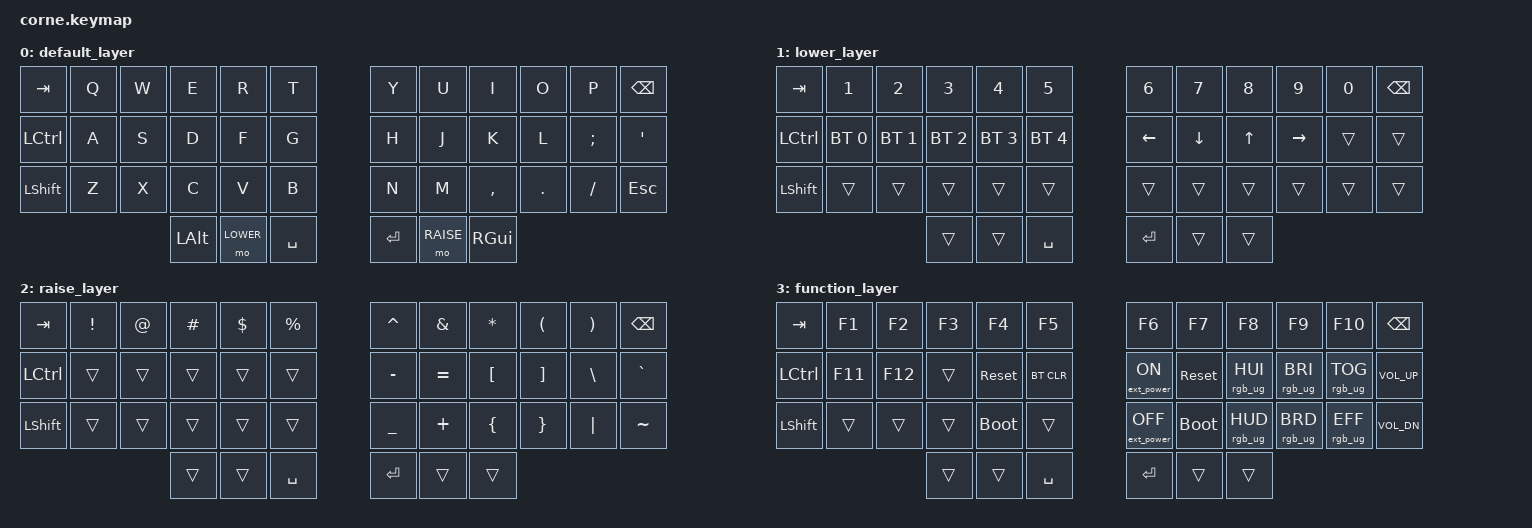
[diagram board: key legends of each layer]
/*
 * Copyright (c) 2020 The ZMK Contributors
 *
 * SPDX-License-Identifier: MIT
 */

#include <behaviors.dtsi>
#include <dt-bindings/zmk/bt.h>
#include <dt-bindings/zmk/ext_power.h>
#include <dt-bindings/zmk/keys.h>
#include <dt-bindings/zmk/rgb.h>

#define DEFAULT 0
#define LOWER   1
#define RAISE   2
#define FUNC    3
#define NAV     4
#define SPECIAL 5

&led_strip {
    chain-length = <27>; // 21 backlight + 6 underglow
};

&mt {
    tapping-term-ms = <200>;
};

/ {
    behaviors {
        // Example 1: Tab key tap dance
        td_tab: tap_dance_tab {
            compatible = "zmk,behavior-tap-dance";
            label = "TAP_DANCE_TAB";
            #binding-cells = <0>;
            tapping-term-ms = <200>;
            bindings = <&kp TAB>, <&kp LS(TAB)>, <&kp RC(TAB)>;
            // Tap once: Normal Tab
            // Tap twice: Shift+Tab (reverse tab)
            // Tap thrice: Ctrl+Tab (cycle tabs)
        };

        // Tap dance behavior for layer activation
        td_layer: tap_dance_lower_raise {
            compatible = "zmk,behavior-tap-dance";
            label = "TD_LOWER_RAISE";
            #binding-cells = <0>;
            tapping-term-ms = <500>;
            bindings = <&mo LOWER>, <&mo RAISE>, <&to NAV>;
        };

        // Conditional layer for ADJUST layer
        conditional_layers {
            compatible = "zmk,conditional-layers";
            adjust_layer {
                if-layers = <LOWER RAISE>;
                then-layer = <FUNC>;
            };
        };
    };

    keymap {
        compatible = "zmk,keymap";
        default_layer {
            bindings = <
            //╭───────────┬───────────┬───────────┬───────────┬───────────┬───────────╮   ╭───────────┬───────────┬───────────┬───────────┬───────────┬───────────╮
            //│ TAB       | Q         │ W         │ E         │ R         │ T         │   │ Y         │ U         │ I         │ O         │ P         │ BSPC      │
                &kp TAB     &kp Q       &kp W       &kp E       &kp R       &kp T           &kp Y       &kp U       &kp I       &kp O       &kp P       &kp BSPC
            //├───────────┼───────────┼───────────┼───────────┼───────────┼───────────┤   ├───────────┼───────────┼───────────┼───────────┼───────────┼───────────┤
            //│ LCTRL     │ A         │ S         │ D         │ F         │ G         │   │ H         │ J         │ K         │ L         │ ;         │ '         │
                &kp LCTRL   &kp A       &kp S       &kp D       &kp F       &kp G           &kp H       &kp J       &kp K       &kp L       &kp SEMI    &kp SQT
            //├───────────┼───────────┼───────────┼───────────┼───────────┼───────────┤   ├───────────┼───────────┼───────────┼───────────┼───────────┼───────────┤
            //│ LSHFT     │ Z         │ X         │ C         │ V         │ B         │   │ N         │ M         │ COMMA     │ DOT       │ FWDSLH    │ ESC       │
                &kp LSHFT   &kp Z       &kp X       &kp C       &kp V       &kp B           &kp N       &kp M       &kp COMMA   &kp DOT     &kp FSLH    &kp ESC
            //╰───────────┴───────────┴───────────┼───────────┼───────────┤───────────┼   ├───────────┼───────────┼───────────┼───────────┴───────────┴───────────╯
            //                                    │ LALT      │ LOWER     │ SPACE     │   │ ENTER     │ RAISE     │ WINDOWS   │
                                                    &kp LALT    &mo LOWER   &kp SPACE       &kp RET     &mo RAISE   &kp RGUI
            //                                    ╰───────────┴───────────┴───────────╯   ╰───────────┴───────────┴───────────╯
            >;
        };

        lower_layer {
            bindings = <
            //╭───────────┬───────────┬───────────┬───────────┬───────────┬───────────╮   ╭───────────┬───────────┬───────────┬───────────┬───────────┬───────────╮
            //│ TAB       | 1         │ 2         │ 3         │ 4         │ 5         │   │ 6         │ 7         │ 8         │ 9         │ 0         │ BSPC      │
                &kp TAB     &kp N1      &kp N2      &kp N3      &kp N4      &kp N5          &kp N6      &kp N7      &kp N8      &kp N9      &kp N0      &kp BSPC
            //├───────────┼───────────┼───────────┼───────────┼───────────┼───────────┤   ├───────────┼───────────┼───────────┼───────────┼───────────┼───────────┤
            //│ LCTRL     │ BT1       │ BT2       │ BT3       │ BT4       │ BT5       │   │ LEFT      │ DOWN      │ UP        │ RIGHT     │           │           │
                &kp LCTRL   &bt BT_SEL 0 &bt BT_SEL 1 &bt BT_SEL 2 &bt BT_SEL 3 &bt BT_SEL 4 &kp LEFT   &kp DOWN    &kp UP      &kp RIGHT   &trans      &trans
            //├───────────┼───────────┼───────────┼───────────┼───────────┼───────────┤   ├───────────┼───────────┼───────────┼───────────┼───────────┼───────────┤
            //│ LCTRL     │           │           │           │           │           │   │           │           │           │           │           │           │
                &kp LSHFT   &trans      &trans      &trans      &trans      &trans          &trans      &trans      &trans      &trans      &trans      &trans
            //╰───────────┴───────────┴───────────┼───────────┼───────────┤───────────┼   ├───────────┼───────────┼───────────┼───────────┴───────────┴───────────╯
            //                                    │           │           │ SPACE     │   │ ENTER     │           │           │
                                                    &trans      &trans      &kp SPACE       &kp RET     &trans      &trans
            //                                    ╰───────────┴───────────┴───────────╯   ╰───────────┴───────────┴───────────╯
            >;
        };

        raise_layer {
            bindings = <
            //╭───────────┬───────────┬───────────┬───────────┬───────────┬───────────╮   ╭───────────┬───────────┬───────────┬───────────┬───────────┬───────────╮
            //│ TAB       │ !         │ @         │ #         │ $         │ %         │   │ ^         │ &         │ *         │ (         │ )         │ BSPC      │
                &kp TAB     &kp EXCL    &kp AT      &kp HASH    &kp DLLR    &kp PRCNT       &kp CARET   &kp AMPS    &kp ASTRK   &kp LPAR    &kp RPAR    &kp BSPC
            //├───────────┼───────────┼───────────┼───────────┼───────────┼───────────┤   ├───────────┼───────────┼───────────┼───────────┼───────────┼───────────┤
            //│ LCTRL     │           │           │           │           │           │   │ -         │ =         │ [         │ ]         │ \         │ `         │
                &kp LCTRL   &trans      &trans      &trans      &trans      &trans          &kp MINUS   &kp EQUAL   &kp LBKT    &kp RBKT    &kp BSLH    &kp GRAVE
            //├───────────┼───────────┼───────────┼───────────┼───────────┼───────────┤   ├───────────┼───────────┼───────────┼───────────┼───────────┼───────────┤
            //│ LSHFT     │           │           │           │           │           │   │ _         │ +         │ {         │ }         │ |         │ ~         │
                &kp LSHFT   &trans      &trans      &trans      &trans      &trans          &kp UNDER   &kp PLUS    &kp LBRC    &kp RBRC    &kp PIPE    &kp TILDE
            //╰───────────┴───────────┴───────────┼───────────┼───────────┤───────────┼   ├───────────┼───────────┼───────────┼───────────┴───────────┴───────────╯
            //                                    │           │           │ SPACE     │   │ ENTER     │           │           │
                                                    &trans      &trans      &kp SPACE       &kp RET     &trans      &trans
            //                                    ╰───────────┴───────────┴───────────╯   ╰───────────┴───────────┴───────────╯
            >;
        };

        function_layer {
            bindings = <
            //╭───────────┬───────────┬───────────┬───────────┬───────────┬───────────╮   ╭───────────┬───────────┬───────────┬───────────┬───────────┬───────────╮
            //│ TAB       │ F1        │ F2        │ F3        │ F4        │ F5        │   │ F6        │ F7        │ F8        │ F9        │ F10       │ BSPC      │
                &kp TAB     &kp F1      &kp F2      &kp F3      &kp F4      &kp F5          &kp F6      &kp F7      &kp F8      &kp F9      &kp F10     &kp BSPC
            //├───────────┼───────────┼───────────┼───────────┼───────────┼───────────┤   ├───────────┼───────────┼───────────┼───────────┼───────────┼───────────┤
            //│ CTRL      │ F11       │ F12       │           │ RESET     │ BTCLR     │   │ ON_EXTPWR │ RESET     │ RGBHUI    │ RGBBRI    │ RGBTOG    │ VOLUP     │
                &kp LCTRL   &kp F11     &kp F12     &trans      &sys_reset  &bt BT_CLR      &ext_power EP_ON &sys_reset &rgb_ug RGB_HUI &rgb_ug RGB_BRI &rgb_ug RGB_TOG &kp C_VOL_UP
            //├───────────┼───────────┼───────────┼───────────┼───────────┼───────────┤   ├───────────┼───────────┼───────────┼───────────┼───────────┼───────────┤
            //│ SHFT      │           │           │           │ BTLOADER  │           │   │ OFF_EXTPWR│ BTLOADER  │ RGBHUD    │ RGBBRD    │ RGBEFF    │ VOLDN     │
                &kp LSHFT   &trans      &trans      &trans      &bootloader &trans          &ext_power EP_OFF &bootloader &rgb_ug RGB_HUD  &rgb_ug RGB_BRD  &rgb_ug RGB_EFF  &kp C_VOL_DN
            //╰───────────┴───────────┴───────────┼───────────┼───────────┤───────────┼   ├───────────┼───────────┼───────────┼───────────┴───────────┴───────────╯
            //                                    │           │           │ SPACE     │   │ ENTER     │           │           │
                                                    &trans      &trans      &kp SPACE       &kp RET     &trans      &trans
            //                                    ╰───────────┴───────────┴───────────╯   ╰───────────┴───────────┴───────────╯
            >;
        };
    };
};
